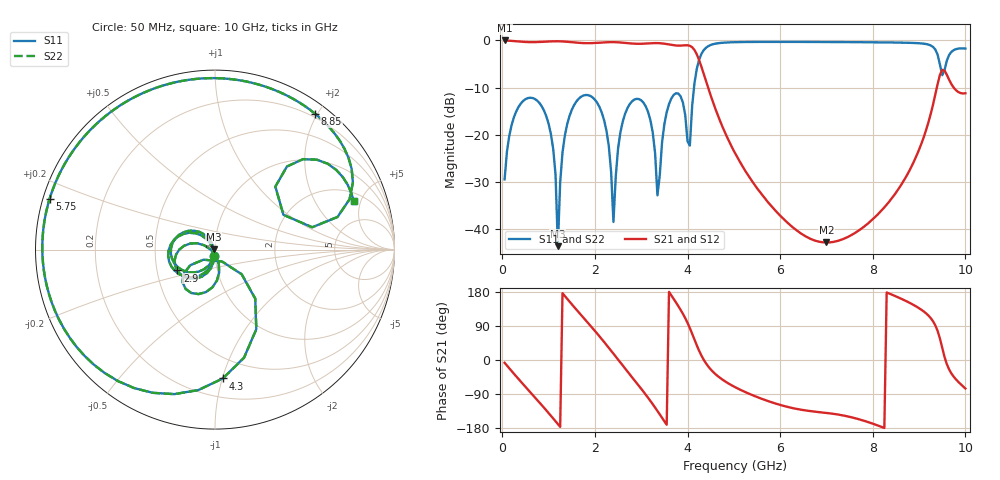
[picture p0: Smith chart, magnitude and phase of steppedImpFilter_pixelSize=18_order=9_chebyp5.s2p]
! freq	dB(S11)	phase(S11)	dB(S12)	phase(S12)
!  dB(S21)	phase(S21)	dB(S22)	phase(S22)
!S-par simulation data
#  GHz  S  DB  R 50
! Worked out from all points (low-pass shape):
!   200 points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, 50 MHz to 10 GHz, reference 50 ohm
!   highest |S21| = -0.02 dB at 50 MHz (marker M1); lowest = -42.8 dB at 7 GHz (marker M2)
!   |S21| within 3 dB of the highest: start of sweep to 4.202 GHz
!   lowest |S11| = -43.6 dB at 1.2 GHz (marker M3), VSWR 1.01, Z = 49.4 + j0.155 ohm
!   |S11| at or under -10 dB: start of sweep to 4.14 GHz
!   |S22| runs from -43.6 to -0.3 dB; largest |S21 - S12| = 0
!   S11 on the Smith chart (normalised r, x): 50 MHz: 0.99, -0.07; 2.9 GHz: 0.64, -0.16; 4.3 GHz: 0.34, -1.00; 5.75 GHz: 0.02, +0.15; 8.85 GHz: 0.15, +1.97; 10 GHz: 2.63, +4.33
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0.05  -29.44 -97.1  -0.02 -7.4  -0.02 -7.4  -29.44 -97.1
0.8  -13.23 158.3  -0.34 -111.7  -0.34 -111.7  -13.23 158.3
1.1  -23.05 118.7  -0.20 -154.4  -0.20 -154.4  -23.05 118.7
1.2  -43.58 166.3  -0.19 -169.1  -0.19 -169.1  -43.61 166.1
1.35  -20.20 -104.6  -0.26 168.9  -0.26 168.9  -20.20 -104.6
1.75  -11.68 -158.9  -0.58 111.9  -0.58 111.9  -11.68 -158.9
2.2  -16.96 140.1  -0.43 47.4  -0.43 47.4  -16.96 140.0
2.4  -38.45 -177.2  -0.37 16.7  -0.37 16.7  -38.59 -177.5
2.55  -19.51 -102.4  -0.45 -6.7  -0.45 -6.7  -19.51 -102.3
2.9  -12.38 -151.1  -0.72 -60.5  -0.72 -60.5  -12.38 -151.0
3.4  -28.60 -82.7  -0.60 -143.4  -0.60 -143.4  -28.59 -82.8
3.7  -11.55 -110.3  -1.03 161.4  -1.03 161.4  -11.55 -110.4
4  -21.39 -138.7  -1.04 98.0  -1.04 98.0  -21.41 -138.9
4.3  -2.86 -86.5  -5.59 11.7  -5.59 11.7  -2.86 -86.5
5.05  -0.38 -164.9  -24.28 -73.1  -24.28 -73.1  -0.38 -164.9
5.75  -0.32 163.0  -34.41 -108.9  -34.41 -108.9  -0.32 163.0
6.7  -0.34 129.4  -42.20 -135.6  -42.20 -135.6  -0.34 129.4
7  -0.35 119.4  -42.80 -139.7  -42.80 -139.7  -0.35 119.4
8.35  -0.44 73.5  -34.21 175.7  -34.21 175.7  -0.44 73.5
8.85  -0.54 53.6  -26.44 147.4  -26.44 147.4  -0.54 53.6
9.5  -7.38 26.9  -6.24 32.0  -6.24 32.0  -7.38 26.9
10  -1.74 19.3  -11.20 -75.3  -11.20 -75.3  -1.73 19.4
